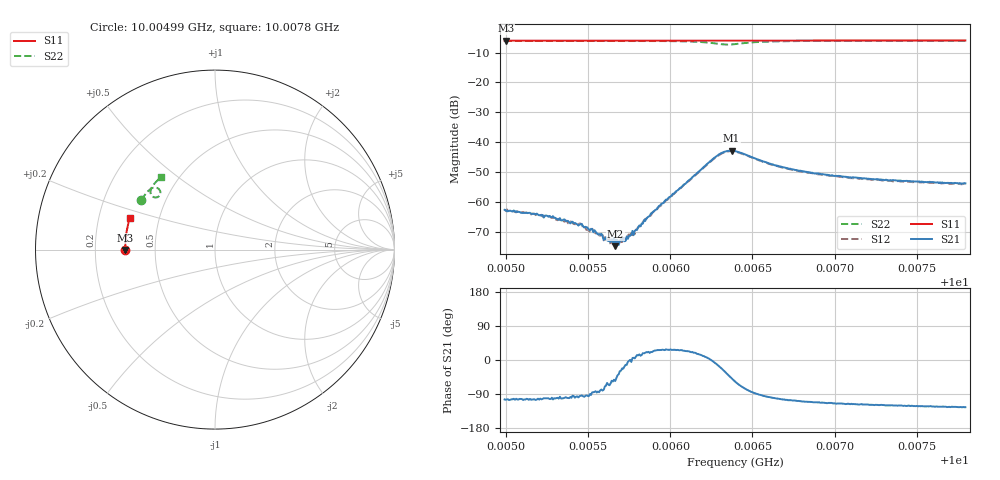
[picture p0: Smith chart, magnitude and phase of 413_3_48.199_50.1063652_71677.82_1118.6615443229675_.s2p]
#  HZ  S  RI  R  50.00
! Rohde & Schwarz Vector Network Analyzer
! Rohde-Schwarz,ZNB20-2Port,1311601062101988,3.16
! Created: UTC 3/20/2024, 11:54:37 AM
! freq[Hz]  re:S11  im:S11  re:S21  im:S21  re:S12  im:S12  re:S22  im:S22
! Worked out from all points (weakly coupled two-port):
!   401 points, 10.00499 GHz to 10.0078 GHz, reference 50 ohm
!   highest |S21| = -42.84 dB at 10.00637 GHz (marker M1); lowest = -74.8 dB at 10.00566 GHz (marker M2)
!   lowest |S11| = -6.0 dB at 10.005 GHz (marker M3), VSWR 3.00, Z = 16.7 - j0.111 ohm
!   |S11| at or under -10 dB: nowhere
!   |S22| runs from -7.3 to -6.0 dB; largest |S21 - S12| = 0.00045
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1.0004991e10  -0.4998 -0.00296  -0.000179 -0.000715  -0.000145 -0.00073  -0.4096 0.2769
1.0004998e10  -0.4996 -0.0025  -0.000186 -0.000699  -0.000127 -0.000693  -0.4096 0.2774
1.0005271e10  -0.5 0.0153  -0.000126 -0.000548  -9.52e-05 -0.000541  -0.3991 0.2934
1.0005461e10  -0.4998 0.0277  -2.6e-05 -0.000425  -2.68e-05 -0.000418  -0.391 0.3048
1.0005503e10  -0.4999 0.0303  -3.4e-05 -0.000346  4.67e-07 -0.00033  -0.3892 0.3072
1.0005531e10  -0.4997 0.0321  2.65e-05 -0.000308  1.89e-05 -0.000337  -0.388 0.309
1.0005608e10  -0.4995 0.0371  9.68e-05 -0.000237  6.14e-05 -0.000216  -0.3841 0.3137
1.0005664e10  -0.4994 0.0408  0.000103 -0.000149  0.00014 -0.000139  -0.3813 0.3172
1.0005678e10  -0.4993 0.0417  0.000173 -0.000149  0.000139 -0.000143  -0.3805 0.318
1.0005713e10  -0.4992 0.044  0.000229 -9.65e-05  0.000191 -7.05e-05  -0.3785 0.3202
1.0005734e10  -0.499 0.0453  0.000257 -5.85e-05  0.000252 -3.75e-05  -0.3773 0.3215
1.0005784e10  -0.4989 0.0485  0.000328 2.48e-05  0.000286 4.12e-05  -0.3745 0.3246
1.0005847e10  -0.4986 0.0526  0.000452 0.000154  0.000487 0.000178  -0.3704 0.3287
1.0005931e10  -0.4981 0.058  0.000766 0.000376  0.000737 0.000395  -0.3638 0.3344
1.0006275e10  -0.4951 0.0801  0.00556 -0.000837  0.00551 -0.000563  -0.3066 0.3292
1.0006324e10  -0.4947 0.0829  0.00606 -0.00313  0.00604 -0.00273  -0.3054 0.3086
1.0006373e10  -0.4943 0.0859  0.00478 -0.0054  0.00496 -0.00502  -0.3204 0.2923
1.0006394e10  -0.4942 0.0871  0.0039 -0.00593  0.00408 -0.00564  -0.3292 0.2904
1.0006632e10  -0.4925 0.1024  -0.000743 -0.00406  -0.000519 -0.00404  -0.3587 0.3294
1.0006864e10  -0.4895 0.1173  -0.0011 -0.00287  -0.000964 -0.00286  -0.3488 0.3522
1.0007334e10  -0.4825 0.1467  -0.00113 -0.00198  -0.00105 -0.00201  -0.3251 0.3809
1.0007797e10  -0.474 0.1753  -0.00115 -0.00168  -0.00107 -0.00165  -0.3015 0.4028
